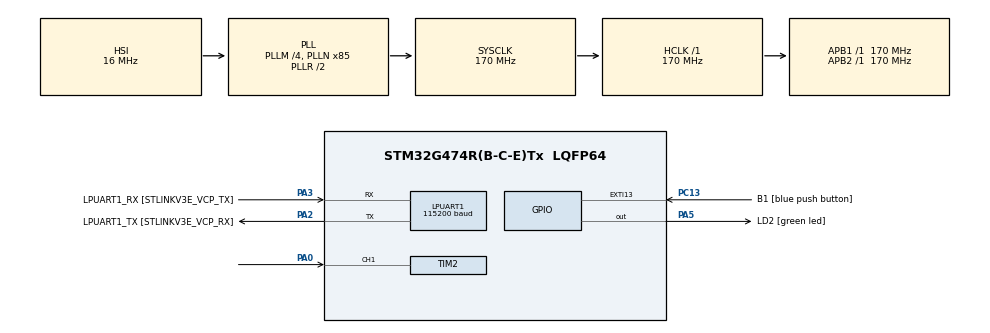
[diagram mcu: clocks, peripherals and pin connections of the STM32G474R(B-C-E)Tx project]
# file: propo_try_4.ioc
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LPUART1.BaudRate=115200
LPUART1.WordLength=UART_WORDLENGTH_8B
Mcu.Family=STM32G4
Mcu.Name=STM32G474R(B-C-E)Tx
Mcu.Package=LQFP64
NVIC.EXTI15_10_IRQn=true\:0\:0\:false\:false\:true\:true\:true\:true
NVIC.LPUART1_IRQn=true\:0\:0\:false\:false\:true\:true\:true\:true
NVIC.PriorityGroup=NVIC_PRIORITYGROUP_4
NVIC.TIM2_IRQn=true\:0\:0\:false\:false\:true\:true\:true\:true
PA0.Signal=S_TIM2_CH1
PA13.GPIO_Label=T_SWDIO
PA13.Mode=Serial_Wire
PA13.Signal=SYS_JTMS-SWDIO
PA14.GPIO_Label=T_SWCLK
PA14.Mode=Serial_Wire
PA14.Signal=SYS_JTCK-SWCLK
PA2.GPIO_Label=LPUART1_TX [STLINKV3E_VCP_RX]
PA2.Mode=Asynchronous
PA2.Signal=LPUART1_TX
PA3.GPIO_Label=LPUART1_RX [STLINKV3E_VCP_TX]
PA3.Mode=Asynchronous
PA3.Signal=LPUART1_RX
PA5.GPIO_Label=LD2 [green led]
PA5.Signal=GPIO_Output
PB3.GPIO_Label=T_SWO
PB3.Signal=SYS_JTDO-SWO
PC13.GPIO_Label=B1 [blue push button]
PC13.Signal=GPXTI13
PC14-OSC32_IN.Mode=LSE-External-Oscillator
PC14-OSC32_IN.Signal=RCC_OSC32_IN
PC15-OSC32_OUT.Mode=LSE-External-Oscillator
PC15-OSC32_OUT.Signal=RCC_OSC32_OUT
PF0-OSC_IN.Mode=HSE-External-Oscillator
PF0-OSC_IN.Signal=RCC_OSC_IN
PF1-OSC_OUT.Mode=HSE-External-Oscillator
PF1-OSC_OUT.Signal=RCC_OSC_OUT
ProjectManager.HeapSize=0x200
ProjectManager.StackSize=0x400
ProjectManager.TargetToolchain=Makefile
RCC.ADC12Freq_Value=170000000
RCC.ADC345Freq_Value=170000000
RCC.AHBFreq_Value=170000000
RCC.APB1Freq_Value=170000000
RCC.APB1TimFreq_Value=170000000
RCC.APB2Freq_Value=170000000
RCC.APB2TimFreq_Value=170000000
RCC.CortexFreq_Value=170000000
RCC.EXTERNAL_CLOCK_VALUE=12288000
RCC.HCLKFreq_Value=170000000
RCC.HSE_VALUE=24000000
RCC.HSI48_VALUE=48000000
RCC.HSI_VALUE=16000000
RCC.PLLM=RCC_PLLM_DIV4
RCC.PLLN=85
RCC.RTCClockSelection=RCC_RTCCLKSOURCE_LSE
RCC.SYSCLKFreq_VALUE=170000000
RCC.SYSCLKSource=RCC_SYSCLKSOURCE_PLLCLK
RCC.USBFreq_Value=170000000
RCC.VCOOutputFreq_Value=340000000
SH.S_TIM2_CH1.0=TIM2_CH1,Input_Capture1_from_TI1
TIM2.AutoReloadPreload=TIM_AUTORELOAD_PRELOAD_ENABLE
TIM2.Channel-Input_Capture1_from_TI1=TIM_CHANNEL_1
TIM2.ICPolarity_CH1=TIM_INPUTCHANNELPOLARITY_BOTHEDGE
TIM2.ICPrescaler-Input_Capture1_from_TI1=TIM_ICPSC_DIV1
TIM2.PeriodNoDither=65535
VP_SYS_VS_DBSignals.Mode=DisableDeadBatterySignals
VP_TIM2_VS_ClockSourceINT.Mode=Internal
board=NUCLEO-G474RE

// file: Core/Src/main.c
/* USER CODE BEGIN Header */
/**
  ******************************************************************************
  * @file           : main.c
  * @brief          : Main program body
  ******************************************************************************
  * @attention
  *
  * Copyright (c) 2023 STMicroelectronics.
  * All rights reserved.
  *
  * This software is licensed under terms that can be found in the LICENSE file
  * in the root directory of this software component.
  * If no LICENSE file comes with this software, it is provided AS-IS.
  *
  ******************************************************************************
  */
/* USER CODE END Header */
#include "main.h"
#include "usart.h"
#include "tim.h"
#include "gpio.h"

/* USER CODE BEGIN Includes */
#include<stdio.h>
#include<string.h>
/* USER CODE END Includes */

/* USER CODE BEGIN PD */
#define IDLE   0
#define DONE   1
#define F_CLK  170000000UL //CPU CLK
#define PWM_PERIOD 1000.0 //PWM cycle

#ifdef __GNUC__
#define PUTCHAR_PROTOTYPE int __io_putchar(int ch)
#define GETCHAR_PROTOTYPE int __io_getchar(void)
#else
#define PUTCHAR_PROTOTYPE int fputc(int ch, FILE *f)
#define GETCHAR_PROTOTYPE int f getc(FILE* f)
#endif
/* USER CODE END PD */

/* USER CODE BEGIN PV */
volatile uint8_t gu8_State = IDLE;
volatile uint8_t gu8_MSG[35] = {'\0'};
volatile uint32_t gu32_T1 = 0;
volatile uint32_t gu32_T2 = 0;
volatile uint32_t gu32_Ticks = 0;
volatile uint16_t gu16_TIM2_OVC = 0;
volatile uint8_t gu32_Freq = 0;

TIM_HandleTypeDef htim2;
UART_HandleTypeDef huart1;
/* USER CODE END PV */

void SystemClock_Config(void);
/* USER CODE BEGIN PFP */
void SystemClock_Config(void);
void MX_TIM2_Init(void);
void MX_USART1_UART_Init(void);
/* USER CODE END PFP */

/* USER CODE BEGIN 0 */
void __io_putchar(uint8_t ch)
{
  HAL_UART_Transmit(&hlpuart1, &ch, 1, 0xFFFFFFFF);
}

int __io_getchar(void)
{
  uint8_t rxBuf;
  while(HAL_UART_Receive(&hlpuart1, &rxBuf, 1, 0xFFFFFFFF) != HAL_OK);
  return(rxBuf);
}

void HAL_TIM_IC_CaptureCallback(TIM_HandleTypeDef *htim)
{
    if(gu8_State == IDLE)
    {
        gu32_T1 = TIM2->CCR1;
        gu16_TIM2_OVC = 0;
        gu8_State = DONE;
    }
    else if(gu8_State == DONE)
    {
        gu32_T2 = TIM2->CCR1;
        gu32_Ticks = (gu32_T2 + (gu16_TIM2_OVC * 65536)) - gu32_T1;
        gu32_Freq = (uint32_t)(F_CLK/gu32_Ticks);
        gu8_State = IDLE;
    }
}

void HAL_TIM_PeriodElapsedCallback(TIM_HandleTypeDef* htim)
{
    gu16_TIM2_OVC++;
}
/* USER CODE END 0 */

int main(void)
{

  /* MCU Configuration--------------------------------------------------------*/

  /* Reset of all peripherals, Initializes the Flash interface and the Systick. */
  HAL_Init();

  /* Configure the system clock */
  SystemClock_Config();

  /* Initialize all configured peripherals */
  MX_GPIO_Init();
  MX_LPUART1_UART_Init();
  MX_TIM2_Init();
  /* USER CODE BEGIN 2 */
  HAL_TIM_Base_Start_IT(&htim2);
  HAL_TIM_IC_Start_IT(&htim2, TIM_CHANNEL_1);

  setbuf(stdout,NULL);
  setbuf(stdin,NULL);
  /* USER CODE END 2 */

  /* Infinite loop */
  while (1)
  {
    HAL_Delay(50);

    float duty = (gu32_Ticks) * -0.0054978 + 350.7097;

    /*printf("Duty: %f\n , PulseWidth : %ld\n", (float)duty , gu32_Ticks);*/
    printf("Duty: %f\n", (float)duty);

  }
}

void SystemClock_Config(void)
{
  RCC_OscInitTypeDef RCC_OscInitStruct = {0};
  RCC_ClkInitTypeDef RCC_ClkInitStruct = {0};

  /** Configure the main internal regulator output voltage
  */
  HAL_PWREx_ControlVoltageScaling(PWR_REGULATOR_VOLTAGE_SCALE1_BOOST);

  /** Initializes the RCC Oscillators according to the specified parameters
  * in the RCC_OscInitTypeDef structure.
  */
  RCC_OscInitStruct.OscillatorType = RCC_OSCILLATORTYPE_HSI;
  RCC_OscInitStruct.HSIState = RCC_HSI_ON;
  RCC_OscInitStruct.HSICalibrationValue = RCC_HSICALIBRATION_DEFAULT;
  RCC_OscInitStruct.PLL.PLLState = RCC_PLL_ON;
  RCC_OscInitStruct.PLL.PLLSource = RCC_PLLSOURCE_HSI;
  RCC_OscInitStruct.PLL.PLLM = RCC_PLLM_DIV4;
  RCC_OscInitStruct.PLL.PLLN = 85;
  RCC_OscInitStruct.PLL.PLLP = RCC_PLLP_DIV2;
  RCC_OscInitStruct.PLL.PLLQ = RCC_PLLQ_DIV2;
  RCC_OscInitStruct.PLL.PLLR = RCC_PLLR_DIV2;
  if (HAL_RCC_OscConfig(&RCC_OscInitStruct) != HAL_OK)
  {
    Error_Handler();
  }

  /** Initializes the CPU, AHB and APB buses clocks
  */
  RCC_ClkInitStruct.ClockType = RCC_CLOCKTYPE_HCLK|RCC_CLOCKTYPE_SYSCLK
                              |RCC_CLOCKTYPE_PCLK1|RCC_CLOCKTYPE_PCLK2;
  RCC_ClkInitStruct.SYSCLKSource = RCC_SYSCLKSOURCE_PLLCLK;
  RCC_ClkInitStruct.AHBCLKDivider = RCC_SYSCLK_DIV1;
  RCC_ClkInitStruct.APB1CLKDivider = RCC_HCLK_DIV1;
  RCC_ClkInitStruct.APB2CLKDivider = RCC_HCLK_DIV1;

  if (HAL_RCC_ClockConfig(&RCC_ClkInitStruct, FLASH_LATENCY_4) != HAL_OK)
  {
    Error_Handler();
  }
}

void Error_Handler(void)
{
  __disable_irq();
  while (1)
  {
  }
}
